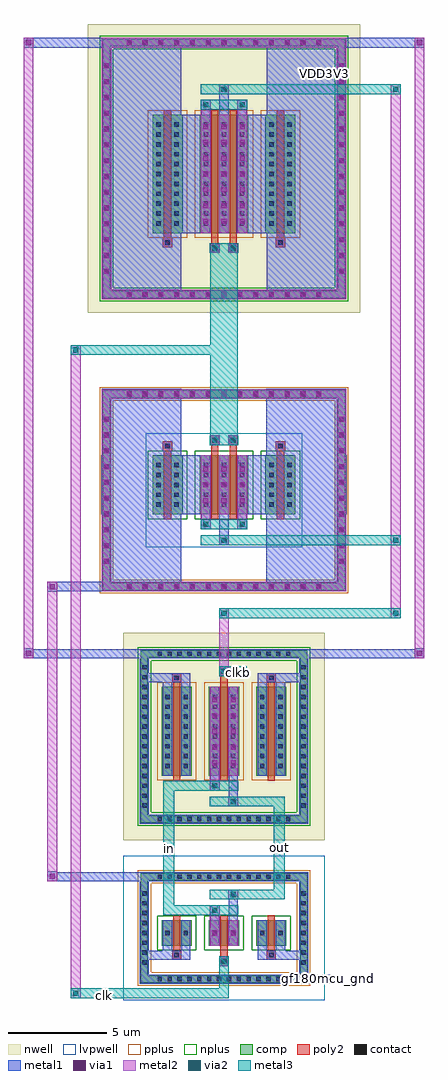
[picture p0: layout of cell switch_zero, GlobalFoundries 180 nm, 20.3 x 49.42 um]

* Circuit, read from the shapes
.subckt switch_zero VDD3V3 clk clkb gf180mcu_gnd in out
XM1 gf180mcu_gnd gf180mcu_gnd gf180mcu_gnd gf180mcu_gnd nfet_03v3 w=3u l=0.36u m=2
XM2 gf180mcu_gnd gf180mcu_gnd gf180mcu_gnd gf180mcu_gnd nfet_03v3 w=1.3u l=0.36u m=2
XM3 clkb clk gf180mcu_gnd gf180mcu_gnd nfet_03v3 w=3u l=0.36u m=2
XM4 out clk in gf180mcu_gnd nfet_03v3 w=1.3u l=0.36u
XM5 VDD3V3 VDD3V3 VDD3V3 VDD3V3 pfet_03v3 w=6u l=0.36u m=2
XM6 VDD3V3 VDD3V3 VDD3V3 VDD3V3 pfet_03v3 w=4.5u l=0.36u m=2
XM7 clkb clk VDD3V3 VDD3V3 pfet_03v3 w=6u l=0.36u m=2
XM8 out clkb in VDD3V3 pfet_03v3 w=4.5u l=0.36u
.ends

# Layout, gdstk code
from math import pi, radians
import gdstk
lib = gdstk.Library(unit=1e-6, precision=5e-09)
def R(c, l, rs):  # rectangles x0, y0, x1, y1
    for r in rs: c.add(gdstk.rectangle(r[:2], r[2:], *l))
def A(c, l, x, y, w, h, nx, ny, dx, dy):  # array of equal rectangles
    R(c, l, [(x+i*dx, y+j*dy, x+i*dx+w, y+j*dy+h) for i in range(nx) for j in range(ny)])
def P(c, l, *ps):  # polygons
    for p in ps: c.add(gdstk.Polygon(p, *l))
nwell = (21, 0)
comp = (22, 0)
poly2 = (30, 0)
pplus = (31, 0)
nplus = (32, 0)
contact = (33, 0)
metal1 = (34, 0)
via1 = (35, 0)
metal2 = (36, 0)
via2 = (38, 0)
metal3 = (42, 0)
lvpwell = (204, 0)

unnamed_2a73851a_1 = lib.new_cell('Unnamed_2a73851a$1')
R(unnamed_2a73851a_1, nwell, [(-2.32,-4.395,2.32,4.395)])
R(unnamed_2a73851a_1, comp, [(-1.97,-3.275,-0.45,2.725), (0.41,-3.275,1.97,2.725)])
R(unnamed_2a73851a_1, poly2, [(0.96,-4.275,1.42,-3.815), (1.01,-4.225,1.37,-3.865), (-1.44,-3.975,-0.98,-3.515), (-1.39,-3.925,-1.03,-3.565), (1.01,-3.815,1.37,-3.515), (-1.39,-3.515,-1.03,2.965), (1.01,-3.515,1.37,2.965)])
R(unnamed_2a73851a_1, pplus, [(-2.2,-3.505,-0.22,2.955), (0.18,-3.505,2.2,2.955)])
A(unnamed_2a73851a_1, contact, -1.78, -2.885, 0.22, 0.22, 1, 11, 0, 0.5)
A(unnamed_2a73851a_1, contact, -0.86, -2.885, 0.22, 0.22, 1, 11, 0, 0.5)
A(unnamed_2a73851a_1, contact, 0.62, -2.885, 0.22, 0.22, 1, 11, 0, 0.5)
A(unnamed_2a73851a_1, contact, 1.54, -2.885, 0.22, 0.22, 1, 11, 0, 0.5)
R(unnamed_2a73851a_1, contact, [(1.08,-4.155,1.3,-3.935), (-1.32,-3.855,-1.1,-3.635)])
A(unnamed_2a73851a_1, metal1, -1.9, -3.975, 0.46, 0.46, 3, 1, 0.46, 0)
A(unnamed_2a73851a_1, metal1, -1.9, -3.005, 0.46, 0.46, 1, 11, 0, 0.5)
A(unnamed_2a73851a_1, metal1, -0.98, -3.005, 0.46, 0.46, 1, 11, 0, 0.5)
A(unnamed_2a73851a_1, metal1, 0.5, -3.005, 0.46, 0.46, 1, 11, 0, 0.5)
A(unnamed_2a73851a_1, metal1, 1.42, -3.005, 0.46, 0.46, 1, 11, 0, 0.5)
A(unnamed_2a73851a_1, metal1, 0.48, -2.925, 0.5, 0.5, 1, 7, 0, 0.8)
A(unnamed_2a73851a_1, metal1, 1.4, -2.925, 0.5, 0.5, 1, 7, 0, 0.8)
R(unnamed_2a73851a_1, metal1, [(0.96,-4.275,1.42,-3.815), (0.96,-4.275,1.42,-3.815), (-1.9,-3.975,-1.44,-3.275), (-0.98,-3.975,-0.52,-3.275), (-1.9,-3.275,-1.44,2.725), (-0.98,-3.275,-0.52,2.725), (0.5,-3.275,0.96,2.725), (1.42,-3.275,1.88,2.725), (0.48,-2.925,0.98,2.375), (1.4,-2.925,1.9,2.375), (0.5,2.725,0.96,3.475), (1.42,2.725,1.88,4.275), (0.48,2.975,0.98,3.475), (1.4,3.775,1.9,4.275)])
A(unnamed_2a73851a_1, via1, 0.6, -2.805, 0.26, 0.26, 1, 7, 0, 0.8)
A(unnamed_2a73851a_1, via1, 1.52, -2.805, 0.26, 0.26, 1, 7, 0, 0.8)
R(unnamed_2a73851a_1, via1, [(0.6,3.095,0.86,3.355), (1.52,3.895,1.78,4.155)])
A(unnamed_2a73851a_1, metal2, 0.48, -2.925, 0.5, 0.5, 1, 7, 0, 0.8)
A(unnamed_2a73851a_1, metal2, 1.4, -2.925, 0.5, 0.5, 1, 7, 0, 0.8)
R(unnamed_2a73851a_1, metal2, [(0.48,-3.275,0.98,2.725), (1.4,-3.275,1.9,2.725), (0.48,2.975,0.98,3.475), (1.4,3.775,1.9,4.275)])
R(unnamed_2a73851a_1, via2, [(0.6,3.095,0.86,3.355), (1.52,3.895,1.78,4.155)])
R(unnamed_2a73851a_1, metal3, [(0.48,2.975,0.98,3.475), (0.48,2.975,1.9,3.475), (0.48,3.775,1.9,4.275), (1.4,3.775,1.9,4.275)])

unnamed_f1af8ef3_1 = lib.new_cell('Unnamed_f1af8ef3$1')
R(unnamed_f1af8ef3_1, nwell, [(-2.32,-4.395,2.32,4.395)])
R(unnamed_f1af8ef3_1, comp, [(-1.97,-3.275,-0.45,2.725), (0.41,-3.275,1.97,2.725)])
R(unnamed_f1af8ef3_1, poly2, [(0.96,-4.275,1.42,-3.815), (1.01,-4.225,1.37,-3.865), (-1.44,-3.975,-0.98,-3.515), (-1.39,-3.925,-1.03,-3.565), (1.01,-3.815,1.37,-3.515), (-1.39,-3.515,-1.03,2.965), (1.01,-3.515,1.37,2.965)])
R(unnamed_f1af8ef3_1, pplus, [(-2.2,-3.505,-0.22,2.955), (0.18,-3.505,2.2,2.955)])
A(unnamed_f1af8ef3_1, contact, -1.78, -2.885, 0.22, 0.22, 1, 11, 0, 0.5)
A(unnamed_f1af8ef3_1, contact, -0.86, -2.885, 0.22, 0.22, 1, 11, 0, 0.5)
A(unnamed_f1af8ef3_1, contact, 0.62, -2.885, 0.22, 0.22, 1, 11, 0, 0.5)
A(unnamed_f1af8ef3_1, contact, 1.54, -2.885, 0.22, 0.22, 1, 11, 0, 0.5)
R(unnamed_f1af8ef3_1, contact, [(1.08,-4.155,1.3,-3.935), (-1.32,-3.855,-1.1,-3.635)])
A(unnamed_f1af8ef3_1, metal1, -1.9, -3.975, 0.46, 0.46, 3, 1, 0.46, 0)
A(unnamed_f1af8ef3_1, metal1, -1.9, -3.005, 0.46, 0.46, 1, 11, 0, 0.5)
A(unnamed_f1af8ef3_1, metal1, -0.98, -3.005, 0.46, 0.46, 1, 11, 0, 0.5)
A(unnamed_f1af8ef3_1, metal1, 0.5, -3.005, 0.46, 0.46, 1, 11, 0, 0.5)
A(unnamed_f1af8ef3_1, metal1, 1.42, -3.005, 0.46, 0.46, 1, 11, 0, 0.5)
A(unnamed_f1af8ef3_1, metal1, 0.48, -2.925, 0.5, 0.5, 1, 7, 0, 0.8)
A(unnamed_f1af8ef3_1, metal1, 1.4, -2.925, 0.5, 0.5, 1, 7, 0, 0.8)
R(unnamed_f1af8ef3_1, metal1, [(0.96,-4.275,1.42,-3.815), (0.96,-4.275,1.42,-3.815), (-1.9,-3.975,-1.44,-3.275), (-0.98,-3.975,-0.52,-3.275), (-1.9,-3.275,-1.44,2.725), (-0.98,-3.275,-0.52,2.725), (0.5,-3.275,0.96,2.725), (1.42,-3.275,1.88,2.725), (0.48,-2.925,0.98,2.375), (1.4,-2.925,1.9,2.375), (0.5,2.725,0.96,3.475), (1.42,2.725,1.88,4.275), (0.48,2.975,0.98,3.475), (1.4,3.775,1.9,4.275)])
A(unnamed_f1af8ef3_1, via1, 0.6, -2.805, 0.26, 0.26, 1, 7, 0, 0.8)
A(unnamed_f1af8ef3_1, via1, 1.52, -2.805, 0.26, 0.26, 1, 7, 0, 0.8)
R(unnamed_f1af8ef3_1, via1, [(0.6,3.095,0.86,3.355), (1.52,3.895,1.78,4.155)])
A(unnamed_f1af8ef3_1, metal2, 0.48, -2.925, 0.5, 0.5, 1, 7, 0, 0.8)
A(unnamed_f1af8ef3_1, metal2, 1.4, -2.925, 0.5, 0.5, 1, 7, 0, 0.8)
R(unnamed_f1af8ef3_1, metal2, [(0.48,-3.275,0.98,2.725), (1.4,-3.275,1.9,2.725), (0.48,2.975,0.98,3.475), (1.4,3.775,1.9,4.275)])
R(unnamed_f1af8ef3_1, via2, [(0.6,3.095,0.86,3.355), (1.52,3.895,1.78,4.155)])
R(unnamed_f1af8ef3_1, metal3, [(0.48,2.975,0.98,3.475), (0.48,2.975,1.9,3.475), (0.48,3.775,1.9,4.275), (1.4,3.775,1.9,4.275)])

unnamed_ead98f9a_1 = lib.new_cell('Unnamed_ead98f9a$1')
R(unnamed_ead98f9a_1, comp, [(-1.97,-1.775,-0.45,1.225), (0.41,-1.775,1.97,1.225)])
R(unnamed_ead98f9a_1, poly2, [(0.96,-2.775,1.42,-2.315), (1.01,-2.725,1.37,-2.365), (-1.44,-2.475,-0.98,-2.015), (-1.39,-2.425,-1.03,-2.065), (1.01,-2.315,1.37,-2.015), (-1.39,-2.015,-1.03,1.465), (1.01,-2.015,1.37,1.465)])
R(unnamed_ead98f9a_1, nplus, [(-2.2,-2.005,-0.22,1.455), (0.18,-2.005,2.2,1.455)])
A(unnamed_ead98f9a_1, contact, -1.78, -1.385, 0.22, 0.22, 1, 5, 0, 0.5)
A(unnamed_ead98f9a_1, contact, -0.86, -1.385, 0.22, 0.22, 1, 5, 0, 0.5)
A(unnamed_ead98f9a_1, contact, 0.62, -1.385, 0.22, 0.22, 1, 5, 0, 0.5)
A(unnamed_ead98f9a_1, contact, 1.54, -1.385, 0.22, 0.22, 1, 5, 0, 0.5)
R(unnamed_ead98f9a_1, contact, [(1.08,-2.655,1.3,-2.435), (-1.32,-2.355,-1.1,-2.135)])
A(unnamed_ead98f9a_1, metal1, -1.9, -2.475, 0.46, 0.46, 3, 1, 0.46, 0)
A(unnamed_ead98f9a_1, metal1, -1.9, -1.505, 0.46, 0.46, 1, 5, 0, 0.5)
A(unnamed_ead98f9a_1, metal1, -0.98, -1.505, 0.46, 0.46, 1, 5, 0, 0.5)
A(unnamed_ead98f9a_1, metal1, 0.5, -1.505, 0.46, 0.46, 1, 5, 0, 0.5)
A(unnamed_ead98f9a_1, metal1, 1.42, -1.505, 0.46, 0.46, 1, 5, 0, 0.5)
A(unnamed_ead98f9a_1, metal1, 0.48, -1.325, 0.5, 0.5, 1, 3, 0, 0.8)
A(unnamed_ead98f9a_1, metal1, 1.4, -1.325, 0.5, 0.5, 1, 3, 0, 0.8)
R(unnamed_ead98f9a_1, metal1, [(0.96,-2.775,1.42,-2.315), (0.96,-2.775,1.42,-2.315), (-1.9,-2.475,-1.44,-1.775), (-0.98,-2.475,-0.52,-1.775), (-1.9,-1.775,-1.44,1.225), (-0.98,-1.775,-0.52,1.225), (0.5,-1.775,0.96,1.225), (1.42,-1.775,1.88,1.225), (0.48,-1.325,0.98,0.775), (1.4,-1.325,1.9,0.775), (0.5,1.225,0.96,1.975), (1.42,1.225,1.88,2.775), (0.48,1.475,0.98,1.975), (1.4,2.275,1.9,2.775)])
A(unnamed_ead98f9a_1, via1, 0.6, -1.205, 0.26, 0.26, 1, 3, 0, 0.8)
A(unnamed_ead98f9a_1, via1, 1.52, -1.205, 0.26, 0.26, 1, 3, 0, 0.8)
R(unnamed_ead98f9a_1, via1, [(0.6,1.595,0.86,1.855), (1.52,2.395,1.78,2.655)])
A(unnamed_ead98f9a_1, metal2, 0.48, -1.325, 0.5, 0.5, 1, 3, 0, 0.8)
A(unnamed_ead98f9a_1, metal2, 1.4, -1.325, 0.5, 0.5, 1, 3, 0, 0.8)
R(unnamed_ead98f9a_1, metal2, [(0.48,-1.775,0.98,1.225), (1.4,-1.775,1.9,1.225), (0.48,1.475,0.98,1.975), (1.4,2.275,1.9,2.775)])
R(unnamed_ead98f9a_1, via2, [(0.6,1.595,0.86,1.855), (1.52,2.395,1.78,2.655)])
R(unnamed_ead98f9a_1, metal3, [(0.48,1.475,0.98,1.975), (0.48,1.475,1.9,1.975), (0.48,2.275,1.9,2.775), (1.4,2.275,1.9,2.775)])
R(unnamed_ead98f9a_1, lvpwell, [(-2.32,-2.895,2.32,2.895)])

unnamed_11e8e328_1 = lib.new_cell('Unnamed_11e8e328$1')
R(unnamed_11e8e328_1, comp, [(-1.97,-1.775,-0.45,1.225), (0.41,-1.775,1.97,1.225)])
R(unnamed_11e8e328_1, poly2, [(0.96,-2.775,1.42,-2.315), (1.01,-2.725,1.37,-2.365), (-1.44,-2.475,-0.98,-2.015), (-1.39,-2.425,-1.03,-2.065), (1.01,-2.315,1.37,-2.015), (-1.39,-2.015,-1.03,1.465), (1.01,-2.015,1.37,1.465)])
R(unnamed_11e8e328_1, nplus, [(-2.2,-2.005,-0.22,1.455), (0.18,-2.005,2.2,1.455)])
A(unnamed_11e8e328_1, contact, -1.78, -1.385, 0.22, 0.22, 1, 5, 0, 0.5)
A(unnamed_11e8e328_1, contact, -0.86, -1.385, 0.22, 0.22, 1, 5, 0, 0.5)
A(unnamed_11e8e328_1, contact, 0.62, -1.385, 0.22, 0.22, 1, 5, 0, 0.5)
A(unnamed_11e8e328_1, contact, 1.54, -1.385, 0.22, 0.22, 1, 5, 0, 0.5)
R(unnamed_11e8e328_1, contact, [(1.08,-2.655,1.3,-2.435), (-1.32,-2.355,-1.1,-2.135)])
A(unnamed_11e8e328_1, metal1, -1.9, -2.475, 0.46, 0.46, 3, 1, 0.46, 0)
A(unnamed_11e8e328_1, metal1, -1.9, -1.505, 0.46, 0.46, 1, 5, 0, 0.5)
A(unnamed_11e8e328_1, metal1, -0.98, -1.505, 0.46, 0.46, 1, 5, 0, 0.5)
A(unnamed_11e8e328_1, metal1, 0.5, -1.505, 0.46, 0.46, 1, 5, 0, 0.5)
A(unnamed_11e8e328_1, metal1, 1.42, -1.505, 0.46, 0.46, 1, 5, 0, 0.5)
A(unnamed_11e8e328_1, metal1, 0.48, -1.325, 0.5, 0.5, 1, 3, 0, 0.8)
A(unnamed_11e8e328_1, metal1, 1.4, -1.325, 0.5, 0.5, 1, 3, 0, 0.8)
R(unnamed_11e8e328_1, metal1, [(0.96,-2.775,1.42,-2.315), (0.96,-2.775,1.42,-2.315), (-1.9,-2.475,-1.44,-1.775), (-0.98,-2.475,-0.52,-1.775), (-1.9,-1.775,-1.44,1.225), (-0.98,-1.775,-0.52,1.225), (0.5,-1.775,0.96,1.225), (1.42,-1.775,1.88,1.225), (0.48,-1.325,0.98,0.775), (1.4,-1.325,1.9,0.775), (0.5,1.225,0.96,1.975), (1.42,1.225,1.88,2.775), (0.48,1.475,0.98,1.975), (1.4,2.275,1.9,2.775)])
A(unnamed_11e8e328_1, via1, 0.6, -1.205, 0.26, 0.26, 1, 3, 0, 0.8)
A(unnamed_11e8e328_1, via1, 1.52, -1.205, 0.26, 0.26, 1, 3, 0, 0.8)
R(unnamed_11e8e328_1, via1, [(0.6,1.595,0.86,1.855), (1.52,2.395,1.78,2.655)])
A(unnamed_11e8e328_1, metal2, 0.48, -1.325, 0.5, 0.5, 1, 3, 0, 0.8)
A(unnamed_11e8e328_1, metal2, 1.4, -1.325, 0.5, 0.5, 1, 3, 0, 0.8)
R(unnamed_11e8e328_1, metal2, [(0.48,-1.775,0.98,1.225), (1.4,-1.775,1.9,1.225), (0.48,1.475,0.98,1.975), (1.4,2.275,1.9,2.775)])
R(unnamed_11e8e328_1, via2, [(0.6,1.595,0.86,1.855), (1.52,2.395,1.78,2.655)])
R(unnamed_11e8e328_1, metal3, [(0.48,1.475,0.98,1.975), (0.48,1.475,1.9,1.975), (0.48,2.275,1.9,2.775), (1.4,2.275,1.9,2.775)])
R(unnamed_11e8e328_1, lvpwell, [(-2.32,-2.895,2.32,2.895)])

unnamed_a559eeb2_1_1 = lib.new_cell('Unnamed_a559eeb2$1$1')
A(unnamed_a559eeb2_1_1, comp, -4.98, -6.555, 0.36, 0.36, 13, 2, 0.8, 12.75)
A(unnamed_a559eeb2_1_1, comp, -6.13, -5.38, 0.36, 0.36, 1, 14, 0, 0.8)
A(unnamed_a559eeb2_1_1, comp, 5.77, -5.38, 0.36, 0.36, 1, 14, 0, 0.8)
R(unnamed_a559eeb2_1_1, comp, [(-4.98,-6.555,4.98,-6.195), (-6.13,-5.38,-5.77,5.38), (5.77,-5.38,6.13,5.38), (-4.98,6.195,4.98,6.555)])
P(unnamed_a559eeb2_1_1, comp, [(-6.13,-6.555),(-6.13,-6.195),(-5.77,-6.195),(5.77,-6.195),(5.77,6.195),(-5.77,6.195),(-5.77,-6.195),(-6.13,-6.195),(-6.13,6.555),(6.13,6.555),(6.13,-6.555)])
P(unnamed_a559eeb2_1_1, nplus, [(-6.29,-6.715),(-6.29,-6.035),(-5.61,-6.035),(5.61,-6.035),(5.61,6.035),(-5.61,6.035),(-5.61,-6.035),(-6.29,-6.035),(-6.29,6.715),(6.29,6.715),(6.29,-6.715)])
A(unnamed_a559eeb2_1_1, contact, -4.91, -6.485, 0.22, 0.22, 13, 2, 0.8, 12.75)
A(unnamed_a559eeb2_1_1, contact, -6.06, -5.31, 0.22, 0.22, 1, 14, 0, 0.8)
A(unnamed_a559eeb2_1_1, contact, 5.84, -5.31, 0.22, 0.22, 1, 14, 0, 0.8)
A(unnamed_a559eeb2_1_1, metal1, -5.05, -6.625, 0.5, 0.5, 13, 2, 0.8, 12.75)
A(unnamed_a559eeb2_1_1, metal1, -6.2, -5.45, 0.5, 0.5, 1, 14, 0, 0.8)
A(unnamed_a559eeb2_1_1, metal1, 5.7, -5.45, 0.5, 0.5, 1, 14, 0, 0.8)
R(unnamed_a559eeb2_1_1, metal1, [(-5.05,-6.625,5.05,-6.125), (-6.2,-5.45,-5.7,5.45), (5.7,-5.45,6.2,5.45), (-5.05,6.125,5.05,6.625)])
A(unnamed_a559eeb2_1_1, via1, -4.93, -6.505, 0.26, 0.26, 13, 2, 0.8, 12.75)
A(unnamed_a559eeb2_1_1, via1, -6.08, -5.33, 0.26, 0.26, 1, 14, 0, 0.8)
A(unnamed_a559eeb2_1_1, via1, 5.82, -5.33, 0.26, 0.26, 1, 14, 0, 0.8)
A(unnamed_a559eeb2_1_1, metal2, -5.05, -6.625, 0.5, 0.5, 13, 2, 0.8, 12.75)
A(unnamed_a559eeb2_1_1, metal2, -6.2, -5.45, 0.5, 0.5, 1, 14, 0, 0.8)
A(unnamed_a559eeb2_1_1, metal2, 5.7, -5.45, 0.5, 0.5, 1, 14, 0, 0.8)
R(unnamed_a559eeb2_1_1, metal2, [(-6.2,-6.625,-5.77,-6.125), (-6.2,-6.625,-5.7,-6.195), (-5.77,-6.625,5.77,-6.125), (5.7,-6.625,6.2,-6.195), (5.77,-6.625,6.2,-6.125), (-6.2,-6.195,-5.7,6.195), (5.7,-6.195,6.2,6.195), (-6.2,6.125,-5.77,6.625), (-5.77,6.125,5.77,6.625), (5.77,6.125,6.2,6.625), (-6.2,6.195,-5.7,6.625), (5.7,6.195,6.2,6.625)])

unnamed_ba294454_1_1 = lib.new_cell('Unnamed_ba294454$1$1')
A(unnamed_ba294454_1_1, comp, -4.98, -5.055, 0.36, 0.36, 13, 2, 0.8, 9.75)
A(unnamed_ba294454_1_1, comp, -6.13, -3.78, 0.36, 0.36, 1, 10, 0, 0.8)
A(unnamed_ba294454_1_1, comp, 5.77, -3.78, 0.36, 0.36, 1, 10, 0, 0.8)
R(unnamed_ba294454_1_1, comp, [(-4.98,-5.055,4.98,-4.695), (-6.13,-3.78,-5.77,3.78), (5.77,-3.78,6.13,3.78), (-4.98,4.695,4.98,5.055)])
P(unnamed_ba294454_1_1, comp, [(-6.13,-5.055),(-6.13,-4.695),(-5.77,-4.695),(5.77,-4.695),(5.77,4.695),(-5.77,4.695),(-5.77,-4.695),(-6.13,-4.695),(-6.13,5.055),(6.13,5.055),(6.13,-5.055)])
P(unnamed_ba294454_1_1, pplus, [(-6.29,-5.215),(-6.29,-4.535),(-5.61,-4.535),(5.61,-4.535),(5.61,4.535),(-5.61,4.535),(-5.61,-4.535),(-6.29,-4.535),(-6.29,5.215),(6.29,5.215),(6.29,-5.215)])
A(unnamed_ba294454_1_1, contact, -4.91, -4.985, 0.22, 0.22, 13, 2, 0.8, 9.75)
A(unnamed_ba294454_1_1, contact, -6.06, -3.71, 0.22, 0.22, 1, 10, 0, 0.8)
A(unnamed_ba294454_1_1, contact, 5.84, -3.71, 0.22, 0.22, 1, 10, 0, 0.8)
A(unnamed_ba294454_1_1, metal1, -5.05, -5.125, 0.5, 0.5, 13, 2, 0.8, 9.75)
A(unnamed_ba294454_1_1, metal1, -6.2, -3.85, 0.5, 0.5, 1, 10, 0, 0.8)
A(unnamed_ba294454_1_1, metal1, 5.7, -3.85, 0.5, 0.5, 1, 10, 0, 0.8)
R(unnamed_ba294454_1_1, metal1, [(-5.05,-5.125,5.05,-4.625), (-6.2,-3.85,-5.7,3.85), (5.7,-3.85,6.2,3.85), (-5.05,4.625,5.05,5.125)])
A(unnamed_ba294454_1_1, via1, -4.93, -5.005, 0.26, 0.26, 13, 2, 0.8, 9.75)
A(unnamed_ba294454_1_1, via1, -6.08, -3.73, 0.26, 0.26, 1, 10, 0, 0.8)
A(unnamed_ba294454_1_1, via1, 5.82, -3.73, 0.26, 0.26, 1, 10, 0, 0.8)
A(unnamed_ba294454_1_1, metal2, -5.05, -5.125, 0.5, 0.5, 13, 2, 0.8, 9.75)
A(unnamed_ba294454_1_1, metal2, -6.2, -3.85, 0.5, 0.5, 1, 10, 0, 0.8)
A(unnamed_ba294454_1_1, metal2, 5.7, -3.85, 0.5, 0.5, 1, 10, 0, 0.8)
R(unnamed_ba294454_1_1, metal2, [(-6.2,-5.125,-5.77,-4.625), (-6.2,-5.125,-5.7,-4.695), (-5.77,-5.125,5.77,-4.625), (5.7,-5.125,6.2,-4.695), (5.77,-5.125,6.2,-4.625), (-6.2,-4.695,-5.7,4.695), (5.7,-4.695,6.2,4.695), (-6.2,4.625,-5.77,5.125), (-5.77,4.625,5.77,5.125), (5.77,4.625,6.2,5.125), (-6.2,4.695,-5.7,5.125), (5.7,4.695,6.2,5.125)])

straight_route_bff6138e_ = lib.new_cell('straight_route_bff6138e$4$1')
P(straight_route_bff6138e_, metal1, [(0.96,-4.275),(0.96,-4.275),(1.42,-4.275),(1.42,-4.275)])

c_route_7e4f65a3_1_1 = lib.new_cell('c_route_7e4f65a3$1$1')
R(c_route_7e4f65a3_1_1, metal2, [(10.1,-19.065,10.6,-18.565), (10.1,-19.065,10.6,4.275), (10.1,3.775,10.6,4.275)])
P(c_route_7e4f65a3_1_1, metal2, [(10.6,-19.065),(10.6,-18.565),(10.6,-18.565),(10.6,-19.065)],
  [(10.6,3.775),(10.6,4.275),(10.6,4.275),(10.6,3.775)])
R(c_route_7e4f65a3_1_1, via2, [(10.22,-18.945,10.48,-18.685), (10.22,3.895,10.48,4.155)])
R(c_route_7e4f65a3_1_1, metal3, [(1.9,-19.065,10.6,-18.565), (10.1,-19.065,10.6,-18.565), (1.9,3.775,10.6,4.275), (10.1,3.775,10.6,4.275)])

straight_route_e266139e_ = lib.new_cell('straight_route_e266139e$2$1')
R(straight_route_e266139e_, metal1, [(1.86,-14.015,2.36,-13.515), (1.86,-4.275,2.36,-3.775)])
R(straight_route_e266139e_, via1, [(1.98,-13.895,2.24,-13.635), (1.98,-4.155,2.24,-3.895)])
R(straight_route_e266139e_, metal2, [(1.86,-14.015,2.36,-13.515), (1.86,-4.275,2.36,-3.775)])
R(straight_route_e266139e_, via2, [(1.98,-13.895,2.24,-13.635), (1.98,-4.155,2.24,-3.895)])
R(straight_route_e266139e_, metal3, [(1.86,-14.015,2.36,-13.515), (1.88,-13.515,2.34,-4.275), (1.86,-4.275,2.36,-3.775)])

straight_route_f31ed6b7_ = lib.new_cell('straight_route_f31ed6b7$2$1')
R(straight_route_f31ed6b7_, metal1, [(0.94,-14.015,1.44,-13.515), (0.94,-4.275,1.44,-3.775)])
R(straight_route_f31ed6b7_, via1, [(1.06,-13.895,1.32,-13.635), (1.06,-4.155,1.32,-3.895)])
R(straight_route_f31ed6b7_, metal2, [(0.94,-14.015,1.44,-13.515), (0.94,-4.275,1.44,-3.775)])
R(straight_route_f31ed6b7_, via2, [(1.06,-13.895,1.32,-13.635), (1.06,-4.155,1.32,-3.895)])
R(straight_route_f31ed6b7_, metal3, [(0.94,-14.015,1.44,-13.515), (0.96,-13.515,1.42,-4.275), (0.94,-4.275,1.44,-3.775)])

unnamed_5acb1a93_1 = lib.new_cell('Unnamed_5acb1a93$1')
R(unnamed_5acb1a93_1, nwell, [(-4.49,-4.645,4.49,4.645)])
A(unnamed_5acb1a93_1, comp, -3.43, -4.365, 0.36, 0.36, 14, 2, 0.5, 8.37)
A(unnamed_5acb1a93_1, comp, -4.21, -3.68, 0.36, 0.36, 1, 15, 0, 0.5)
A(unnamed_5acb1a93_1, comp, 3.85, -3.68, 0.36, 0.36, 1, 15, 0, 0.5)
R(unnamed_5acb1a93_1, comp, [(-3.43,-4.365,3.43,-4.005), (-4.21,-3.68,-3.85,3.68), (3.85,-3.68,4.21,3.68), (-3.16,-2.505,-1.64,1.995), (-0.78,-2.505,0.78,1.995), (1.64,-2.505,3.16,1.995), (-3.43,4.005,3.43,4.365)])
P(unnamed_5acb1a93_1, comp, [(-4.21,-4.365),(-4.21,-4.005),(-3.85,-4.005),(3.85,-4.005),(3.85,4.005),(-3.85,4.005),(-3.85,-4.005),(-4.21,-4.005),(-4.21,4.365),(4.21,4.365),(4.21,-4.365)])
A(unnamed_5acb1a93_1, poly2, -2.58, -2.745, 0.36, 4.98, 3, 1, 2.4, 0)
R(unnamed_5acb1a93_1, poly2, [(-0.25,-3.545,0.25,-3.045), (-0.18,-3.475,0.18,-3.115), (-2.63,-3.205,-2.17,-2.745), (2.17,-3.205,2.63,-2.745), (-2.58,-3.155,-2.22,-2.795), (2.22,-3.155,2.58,-2.795), (-0.18,-3.045,0.18,-2.745)])
R(unnamed_5acb1a93_1, pplus, [(-3.39,-2.735,-1.41,2.225), (-1.01,-2.735,1.01,2.225), (1.41,-2.735,3.39,2.225)])
P(unnamed_5acb1a93_1, nplus, [(-4.37,-4.525),(-4.37,-3.845),(-3.69,-3.845),(3.69,-3.845),(3.69,3.845),(-3.69,3.845),(-3.69,-3.845),(-4.37,-3.845),(-4.37,4.525),(4.37,4.525),(4.37,-4.525)])
A(unnamed_5acb1a93_1, contact, -3.36, -4.295, 0.22, 0.22, 14, 2, 0.5, 8.37)
A(unnamed_5acb1a93_1, contact, -4.14, -3.61, 0.22, 0.22, 1, 15, 0, 0.5)
A(unnamed_5acb1a93_1, contact, 3.92, -3.61, 0.22, 0.22, 1, 15, 0, 0.5)
A(unnamed_5acb1a93_1, contact, -2.97, -2.115, 0.22, 0.22, 1, 8, 0, 0.5)
A(unnamed_5acb1a93_1, contact, -2.05, -2.115, 0.22, 0.22, 1, 8, 0, 0.5)
A(unnamed_5acb1a93_1, contact, -0.57, -2.115, 0.22, 0.22, 1, 8, 0, 0.5)
A(unnamed_5acb1a93_1, contact, 0.35, -2.115, 0.22, 0.22, 1, 8, 0, 0.5)
A(unnamed_5acb1a93_1, contact, 1.83, -2.115, 0.22, 0.22, 1, 8, 0, 0.5)
A(unnamed_5acb1a93_1, contact, 2.75, -2.115, 0.22, 0.22, 1, 8, 0, 0.5)
R(unnamed_5acb1a93_1, contact, [(-0.11,-3.405,0.11,-3.185), (-2.51,-3.085,-2.29,-2.865), (2.29,-3.085,2.51,-2.865)])
A(unnamed_5acb1a93_1, metal1, -3.48, -4.415, 0.46, 0.46, 14, 2, 0.5, 8.37)
A(unnamed_5acb1a93_1, metal1, -4.26, -3.73, 0.46, 0.46, 1, 15, 0, 0.5)
A(unnamed_5acb1a93_1, metal1, 3.8, -3.73, 0.46, 0.46, 1, 15, 0, 0.5)
A(unnamed_5acb1a93_1, metal1, -3.09, -3.205, 0.46, 0.46, 3, 1, 0.46, 0)
A(unnamed_5acb1a93_1, metal1, 1.71, -3.205, 0.46, 0.46, 3, 1, 0.46, 0)
A(unnamed_5acb1a93_1, metal1, -3.09, -2.235, 0.46, 0.46, 1, 8, 0, 0.5)
A(unnamed_5acb1a93_1, metal1, -2.17, -2.235, 0.46, 0.46, 1, 8, 0, 0.5)
A(unnamed_5acb1a93_1, metal1, -0.69, -2.235, 0.46, 0.46, 1, 8, 0, 0.5)
A(unnamed_5acb1a93_1, metal1, 0.23, -2.235, 0.46, 0.46, 1, 8, 0, 0.5)
A(unnamed_5acb1a93_1, metal1, 1.71, -2.235, 0.46, 0.46, 1, 8, 0, 0.5)
A(unnamed_5acb1a93_1, metal1, 2.63, -2.235, 0.46, 0.46, 1, 8, 0, 0.5)
A(unnamed_5acb1a93_1, metal1, -0.71, -2.105, 0.5, 0.5, 1, 5, 0, 0.8)
A(unnamed_5acb1a93_1, metal1, 0.21, -2.105, 0.5, 0.5, 1, 5, 0, 0.8)
R(unnamed_5acb1a93_1, metal1, [(-4.26,-4.415,-3.85,-3.955), (-4.26,-4.415,-3.8,-4.005), (-3.85,-4.415,3.85,-3.955), (3.8,-4.415,4.26,-4.005), (3.85,-4.415,4.26,-3.955), (-4.26,-4.005,-3.8,4.005), (3.8,-4.005,4.26,4.005), (-0.25,-3.545,0.25,-3.045), (-4.26,-3.205,-2.63,-2.745), (-3.09,-3.205,-2.63,-2.505), (-2.17,-3.205,-1.71,-2.505), (1.71,-3.205,2.17,-2.505), (2.17,-3.205,4.26,-2.745), (2.63,-3.205,3.09,-2.505), (-3.09,-2.505,-2.63,1.995), (-2.17,-2.505,-1.71,1.995), (-0.69,-2.505,-0.23,1.995), (0.23,-2.505,0.69,1.995), (1.71,-2.505,2.17,1.995), (2.63,-2.505,3.09,1.995), (-0.71,-2.105,-0.21,1.595), (0.21,-2.105,0.71,1.595), (-0.69,1.995,-0.23,2.745), (0.23,1.995,0.69,3.545), (-0.71,2.245,-0.21,2.745), (0.21,3.045,0.71,3.545), (-4.26,3.955,-3.85,4.415), (-3.85,3.955,3.85,4.415), (3.85,3.955,4.26,4.415), (-4.26,4.005,-3.8,4.415), (3.8,4.005,4.26,4.415)])
A(unnamed_5acb1a93_1, via1, -0.59, -1.985, 0.26, 0.26, 1, 5, 0, 0.8)
A(unnamed_5acb1a93_1, via1, 0.33, -1.985, 0.26, 0.26, 1, 5, 0, 0.8)
R(unnamed_5acb1a93_1, via1, [(-0.13,-3.425,0.13,-3.165), (-0.59,2.365,-0.33,2.625), (0.33,3.165,0.59,3.425)])
A(unnamed_5acb1a93_1, metal2, -0.71, -2.105, 0.5, 0.5, 1, 5, 0, 0.8)
A(unnamed_5acb1a93_1, metal2, 0.21, -2.105, 0.5, 0.5, 1, 5, 0, 0.8)
R(unnamed_5acb1a93_1, metal2, [(-0.25,-3.545,0.25,-3.045), (-0.71,-2.505,-0.21,1.995), (0.21,-2.505,0.71,1.995), (-0.71,2.245,-0.21,2.745), (0.21,3.045,0.71,3.545)])
R(unnamed_5acb1a93_1, via2, [(-0.13,-3.425,0.13,-3.165), (-0.59,2.365,-0.33,2.625), (0.33,3.165,0.59,3.425)])
R(unnamed_5acb1a93_1, metal3, [(-0.25,-3.545,0.25,-3.045), (-0.25,-3.545,0.25,-3.045), (-0.71,2.245,-0.21,2.745), (-0.71,2.245,0.71,2.745), (-0.71,3.045,0.71,3.545), (0.21,3.045,0.71,3.545)])

unnamed_6f5da526_1 = lib.new_cell('Unnamed_6f5da526$1')
A(unnamed_6f5da526_1, comp, -3.43, -2.77, 0.36, 0.36, 14, 2, 0.5, 5.18)
A(unnamed_6f5da526_1, comp, -4.21, -1.93, 0.36, 0.36, 1, 8, 0, 0.5)
A(unnamed_6f5da526_1, comp, 3.85, -1.93, 0.36, 0.36, 1, 8, 0, 0.5)
R(unnamed_6f5da526_1, comp, [(-3.43,-2.77,3.43,-2.41), (-4.21,-1.93,-3.85,1.93), (3.85,-1.93,4.21,1.93), (-3.16,-0.905,-1.64,0.395), (-0.78,-0.905,0.78,0.395), (1.64,-0.905,3.16,0.395), (-3.43,2.41,3.43,2.77)])
P(unnamed_6f5da526_1, comp, [(-4.21,-2.77),(-4.21,-2.41),(-3.85,-2.41),(3.85,-2.41),(3.85,2.41),(-3.85,2.41),(-3.85,-2.41),(-4.21,-2.41),(-4.21,2.77),(4.21,2.77),(4.21,-2.77)])
A(unnamed_6f5da526_1, poly2, -2.58, -1.145, 0.36, 1.78, 3, 1, 2.4, 0)
R(unnamed_6f5da526_1, poly2, [(-0.25,-1.945,0.25,-1.445), (-0.18,-1.875,0.18,-1.515), (-2.63,-1.605,-2.17,-1.145), (2.17,-1.605,2.63,-1.145), (-2.58,-1.555,-2.22,-1.195), (2.22,-1.555,2.58,-1.195), (-0.18,-1.445,0.18,-1.145)])
P(unnamed_6f5da526_1, pplus, [(-4.37,-2.93),(-4.37,-2.25),(-3.69,-2.25),(3.69,-2.25),(3.69,2.25),(-3.69,2.25),(-3.69,-2.25),(-4.37,-2.25),(-4.37,2.93),(4.37,2.93),(4.37,-2.93)])
R(unnamed_6f5da526_1, nplus, [(-3.39,-1.135,-1.41,0.625), (-1.01,-1.135,1.01,0.625), (1.41,-1.135,3.39,0.625)])
A(unnamed_6f5da526_1, contact, -3.36, -2.7, 0.22, 0.22, 14, 2, 0.5, 5.18)
A(unnamed_6f5da526_1, contact, -4.14, -1.86, 0.22, 0.22, 1, 8, 0, 0.5)
A(unnamed_6f5da526_1, contact, 3.92, -1.86, 0.22, 0.22, 1, 8, 0, 0.5)
R(unnamed_6f5da526_1, contact, [(-0.11,-1.805,0.11,-1.585), (-2.51,-1.485,-2.29,-1.265), (2.29,-1.485,2.51,-1.265), (-2.97,-0.365,-2.75,-0.145), (-2.05,-0.365,-1.83,-0.145), (-0.57,-0.365,-0.35,-0.145), (0.35,-0.365,0.57,-0.145), (1.83,-0.365,2.05,-0.145), (2.75,-0.365,2.97,-0.145)])
A(unnamed_6f5da526_1, metal1, -3.48, -2.82, 0.46, 0.46, 14, 2, 0.5, 5.18)
A(unnamed_6f5da526_1, metal1, -4.26, -1.98, 0.46, 0.46, 1, 8, 0, 0.5)
A(unnamed_6f5da526_1, metal1, 3.8, -1.98, 0.46, 0.46, 1, 8, 0, 0.5)
A(unnamed_6f5da526_1, metal1, -3.09, -1.605, 0.46, 0.46, 3, 1, 0.46, 0)
A(unnamed_6f5da526_1, metal1, 1.71, -1.605, 0.46, 0.46, 3, 1, 0.46, 0)
R(unnamed_6f5da526_1, metal1, [(-4.26,-2.82,-3.85,-2.36), (-4.26,-2.82,-3.8,-2.41), (-3.85,-2.82,3.85,-2.36), (3.8,-2.82,4.26,-2.41), (3.85,-2.82,4.26,-2.36), (-4.26,-2.41,-3.8,2.41), (3.8,-2.41,4.26,2.41), (-0.25,-1.945,0.25,-1.445), (-4.26,-1.605,-2.63,-1.145), (-3.09,-1.605,-2.63,-0.905), (-2.17,-1.605,-1.71,-0.905), (1.71,-1.605,2.17,-0.905), (2.17,-1.605,4.26,-1.145), (2.63,-1.605,3.09,-0.905), (-3.09,-0.905,-2.63,0.395), (-2.17,-0.905,-1.71,0.395), (-0.69,-0.905,-0.23,0.395), (0.23,-0.905,0.69,0.395), (1.71,-0.905,2.17,0.395), (2.63,-0.905,3.09,0.395), (-0.71,-0.505,-0.21,-0.005), (-0.71,-0.505,-0.21,-0.005), (0.21,-0.505,0.71,-0.005), (0.21,-0.505,0.71,-0.005), (-3.09,-0.485,-2.63,-0.025), (-2.17,-0.485,-1.71,-0.025), (-0.69,-0.485,-0.23,-0.025), (0.23,-0.485,0.69,-0.025), (1.71,-0.485,2.17,-0.025), (2.63,-0.485,3.09,-0.025), (-0.69,0.395,-0.23,1.145), (0.23,0.395,0.69,1.945), (-0.71,0.645,-0.21,1.145), (0.21,1.445,0.71,1.945), (-4.26,2.36,-3.85,2.82), (-3.85,2.36,3.85,2.82), (3.85,2.36,4.26,2.82), (-4.26,2.41,-3.8,2.82), (3.8,2.41,4.26,2.82)])
R(unnamed_6f5da526_1, via1, [(-0.13,-1.825,0.13,-1.565), (-0.59,-0.385,-0.33,-0.125), (0.33,-0.385,0.59,-0.125), (-0.59,0.765,-0.33,1.025), (0.33,1.565,0.59,1.825)])
R(unnamed_6f5da526_1, metal2, [(-0.25,-1.945,0.25,-1.445), (-0.71,-0.905,-0.21,0.395), (0.21,-0.905,0.71,0.395), (-0.71,-0.505,-0.21,-0.005), (0.21,-0.505,0.71,-0.005), (-0.71,0.645,-0.21,1.145), (0.21,1.445,0.71,1.945)])
R(unnamed_6f5da526_1, via2, [(-0.13,-1.825,0.13,-1.565), (-0.59,0.765,-0.33,1.025), (0.33,1.565,0.59,1.825)])
R(unnamed_6f5da526_1, metal3, [(-0.25,-1.945,0.25,-1.445), (-0.25,-1.945,0.25,-1.445), (-0.71,0.645,-0.21,1.145), (-0.71,0.645,0.71,1.145), (-0.71,1.445,0.71,1.945), (0.21,1.445,0.71,1.945)])
R(unnamed_6f5da526_1, lvpwell, [(-4.49,-3.05,4.49,3.05)])

c_route_c792315c_10_1 = lib.new_cell('c_route_c792315c$10$1')
R(c_route_c792315c_10_1, metal3, [(-3.07,-9.05,-0.71,-8.55), (-3.07,-9.05,-2.51,-8.49), (-3.07,-9.05,-2.51,-2.245), (-3.07,-2.805,-2.51,-2.245), (-3.07,-2.745,-0.71,-2.245)])
P(c_route_c792315c_10_1, metal3, [(-2.51,-9.05),(-2.51,-8.49),(-2.51,-8.49),(-2.51,-9.05)],
  [(-2.51,-2.805),(-2.51,-2.245),(-2.51,-2.245),(-2.51,-2.805)])

c_route_eaf2b499_10_1 = lib.new_cell('c_route_eaf2b499$10$1')
R(c_route_eaf2b499_10_1, metal3, [(0.71,-8.25,3.07,-7.75), (2.51,-8.25,3.07,-7.69), (2.51,-8.25,3.07,-3.045), (2.51,-3.605,3.07,-3.045), (0.71,-3.545,3.07,-3.045)])
P(c_route_eaf2b499_10_1, metal3, [(3.07,-8.25),(3.07,-7.69),(3.07,-7.69),(3.07,-8.25)],
  [(3.07,-3.605),(3.07,-3.045),(3.07,-3.045),(3.07,-3.605)])

via_dev = lib.new_cell('via_dev')
R(via_dev, metal2, [(0,0,0.5,0.5)])
R(via_dev, via2, [(0.12,0.12,0.38,0.38)])
R(via_dev, metal3, [(0,0,0.5,0.5)])

via_dev_2 = lib.new_cell('via_dev$2')
R(via_dev_2, metal1, [(0,0,0.5,0.5)])
R(via_dev_2, via1, [(0.12,0.12,0.38,0.38)])
R(via_dev_2, metal2, [(0,0,0.5,0.5)])

switch_zero = lib.new_cell('switch_zero')
R(switch_zero, nwell, [(15.44,-9.19,25.62,1.3), (13.64,17.5,27.42,32.13)])
R(switch_zero, metal1, [(23.96,-16.46,25.92,-16), (11.58,-11.28,17.64,-10.82), (10.38,0.01,17.4,0.47), (23.66,0.01,30.68,0.47), (11.58,3.4,16.1,3.895), (14.33,3.4,18.36,13.65), (22.68,3.4,26.71,13.65), (14.31,7.3,19.84,10.3), (21.22,7.3,26.75,10.3), (14.33,18.19,18.36,31.44), (22.7,18.19,26.73,31.44), (14.33,21.54,19.84,27.54), (21.18,21.54,26.69,27.54), (10.38,30.935,15.68,31.44), (25.38,30.935,30.68,31.44)])
R(switch_zero, metal2, [(12.78,-17.19,13.28,15.87), (19.82,-14.545,20.32,-12.495), (11.58,-11.28,12.08,3.895), (19.81,-6.69,20.32,-1.44), (20.28,-0.9,20.78,2.55), (10.38,0.01,10.88,31.44), (30.18,0.01,30.68,31.44), (28.98,2.05,29.48,6.245), (19.36,6.55,19.86,10.3), (21.2,6.55,21.7,10.3), (19.36,21.54,19.86,28.29), (21.2,21.54,21.7,28.29)])
R(switch_zero, metal3, [(12.78,-17.19,20.78,-16.69), (20.28,-17.19,20.78,-15.085), (20.28,-15.585,20.78,-15.085), (20.28,-0.9,21.69,-0.4), (20.28,2.05,29.48,2.55), (19.84,10.8,21.22,21.04), (12.78,15.37,21.22,15.87)])
R(switch_zero, lvpwell, [(15.44,-17.29,25.62,-9.99)])
switch_zero.add(gdstk.Reference(unnamed_2a73851a_1, (18.88,24.81)))
switch_zero.add(gdstk.Reference(unnamed_f1af8ef3_1, (22.18,24.81), rotation=pi, x_reflection=True))
switch_zero.add(gdstk.Reference(unnamed_ead98f9a_1, (18.88,8.52), x_reflection=True))
switch_zero.add(gdstk.Reference(unnamed_11e8e328_1, (22.18,8.52), rotation=pi))
switch_zero.add(gdstk.Reference(unnamed_a559eeb2_1_1, (20.53,24.81)))
switch_zero.add(gdstk.Reference(unnamed_ba294454_1_1, (20.53,8.52)))
switch_zero.add(gdstk.Reference(straight_route_bff6138e_, (18.88,24.81)))
switch_zero.add(gdstk.Reference(c_route_7e4f65a3_1_1, (18.88,24.81)))
switch_zero.add(gdstk.Reference(straight_route_e266139e_, (18.88,24.81)))
switch_zero.add(gdstk.Reference(straight_route_f31ed6b7_, (18.88,24.81)))
switch_zero.add(gdstk.Reference(unnamed_5acb1a93_1, (20.53,-3.945), x_reflection=True))
switch_zero.add(gdstk.Reference(unnamed_6f5da526_1, (20.53,-13.64)))
switch_zero.add(gdstk.Reference(c_route_c792315c_10_1, (20.53,-3.945)))
switch_zero.add(gdstk.Reference(c_route_eaf2b499_10_1, (20.53,-3.945)))
switch_zero.add(gdstk.Reference(via_dev, (20.28,2.05)))
switch_zero.add(gdstk.Reference(via_dev, (28.98,2.05)))
switch_zero.add(gdstk.Reference(via_dev_2, (30.18,0.01)))
switch_zero.add(gdstk.Reference(via_dev_2, (30.18,30.94)))
switch_zero.add(gdstk.Reference(via_dev_2, (10.88,0.01), rotation=pi, x_reflection=True))
switch_zero.add(gdstk.Reference(via_dev_2, (10.88,30.94), rotation=pi, x_reflection=True))
switch_zero.add(gdstk.Reference(via_dev_2, (12.08,3.39), rotation=pi, x_reflection=True))
switch_zero.add(gdstk.Reference(via_dev_2, (12.08,-11.28), rotation=pi, x_reflection=True))
switch_zero.add(gdstk.Reference(via_dev, (13.28,-17.19), rotation=pi, x_reflection=True))
switch_zero.add(gdstk.Reference(via_dev, (13.28,15.37), rotation=pi, x_reflection=True))
switch_zero.add(gdstk.Label('VDD3V3', (25.61,29.64), layer=34, texttype=10))
switch_zero.add(gdstk.Label('gf180mcu_gnd', (25.8,-16.21), layer=34, texttype=10))
switch_zero.add(gdstk.Label('clk', (14.49,-17.05), layer=42, texttype=10))
switch_zero.add(gdstk.Label('in', (17.76,-9.62), layer=42, texttype=10))
switch_zero.add(gdstk.Label('out', (23.32,-9.59), layer=42, texttype=10))
switch_zero.add(gdstk.Label('clkb', (21.27,-0.71), layer=42, texttype=10))

lib.write_gds('switch_zero.gds')
